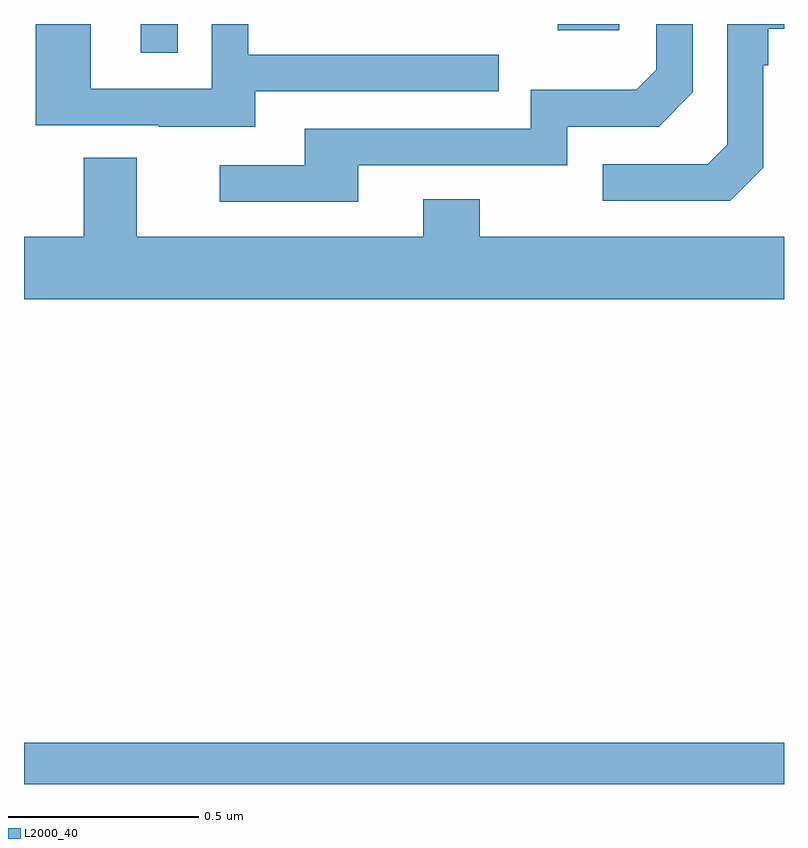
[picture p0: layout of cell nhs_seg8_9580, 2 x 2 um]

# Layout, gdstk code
import gdstk
lib = gdstk.Library(unit=1e-6, precision=1e-09)
def R(c, l, rs):  # rectangles x0, y0, x1, y1
    for r in rs: c.add(gdstk.rectangle(r[:2], r[2:], *l))
def P(c, l, *ps):  # polygons
    for p in ps: c.add(gdstk.Polygon(p, *l))
L2000_40 = (2000, 40)

nhs_seg8_9580 = lib.new_cell('nhs_seg8_9580')
R(nhs_seg8_9580, L2000_40, [(238,1105.9,240,1106.008), (238.307,1107.825,238.404,1107.9), (239.405,1107.884,239.566,1107.9)])
P(nhs_seg8_9580, L2000_40, [(238.879,1107.528),(239.43,1107.528),(239.43,1107.63),(239.67,1107.63),(239.76,1107.72),(239.76,1107.9),(239.664,1107.9),(239.664,1107.78),(239.611,1107.727),(239.334,1107.727),(239.334,1107.624),(238.739,1107.624),(238.739,1107.528),(238.515,1107.528),(238.515,1107.432),(238.879,1107.432)],
  [(238.609,1107.723),(239.249,1107.723),(239.249,1107.819),(238.59,1107.819),(238.59,1107.9),(238.494,1107.9),(238.494,1107.729),(238.176,1107.729),(238.176,1107.9),(238.031,1107.9),(238.031,1107.633),(238.355,1107.633),(238.355,1107.629),(238.609,1107.629)],
  [(239.946,1107.522),(239.946,1107.791),(239.959,1107.791),(239.959,1107.887),(240,1107.887),(240,1107.9),(239.85,1107.9),(239.85,1107.582),(239.799,1107.531),(239.523,1107.531),(239.523,1107.435),(239.859,1107.435)],
  [(240,1107.34),(239.199,1107.34),(239.199,1107.439),(239.051,1107.439),(239.051,1107.34),(238.297,1107.34),(238.297,1107.548),(238.157,1107.548),(238.157,1107.34),(238,1107.34),(238,1107.176),(240,1107.176)])

lib.write_gds('nhs_seg8_9580.gds')
